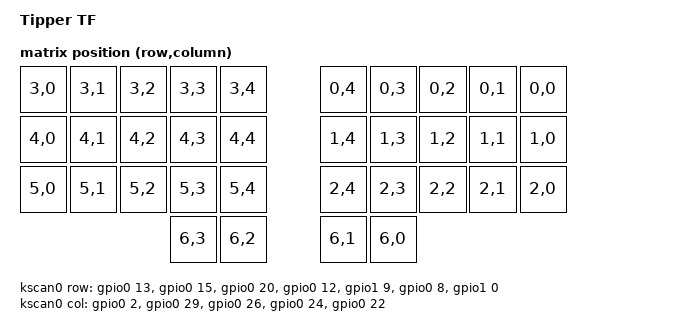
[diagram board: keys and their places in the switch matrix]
/*
 * Copyright (c) 2025
 *
 * SPDX-License-Identifier: MIT
 */

/dts-v1/;
#include <nordic/nrf52840_qiaa.dtsi>
#include <common/nordic/nrf52840_uf2_boot_mode.dtsi>
#include <dt-bindings/zmk/matrix_transform.h>
#include "tipper_tf-layouts.dtsi"

/ {
	model = "Tipper TF";
	compatible = "tipper,tf";

	chosen {
		zephyr,code-partition = &code_partition;
		zephyr,sram = &sram0;
		zephyr,flash = &flash0;
		zmk,kscan = &kscan0;
		zmk,physical-layout = &tipper_tf_physical_layout;
		zmk,studio-rpc-uart = &studio_rpc_usb_uart;
		zephyr,display = &display;
		/* Boot mode is set by nrf52840_uf2_boot_mode.dtsi */
	};

	default_transform: keymap_transform_0 {
		compatible = "zmk,matrix-transform";
		rows = <7>;
		columns = <5>;
		map = <
		RC(3,0) RC(3,1) RC(3,2) RC(3,3) RC(3,4) 		RC(0,4) RC(0,3) RC(0,2) RC(0,1) RC(0,0)
		RC(4,0) RC(4,1) RC(4,2) RC(4,3) RC(4,4) 		RC(1,4) RC(1,3) RC(1,2) RC(1,1) RC(1,0)
		RC(5,0) RC(5,1) RC(5,2) RC(5,3) RC(5,4)	        RC(2,4) RC(2,3) RC(2,2) RC(2,1) RC(2,0)
		                        RC(6,3) RC(6,2) 		RC(6,1) RC(6,0)
		>;
	};

	kscan0: kscan {
		compatible = "zmk,kscan-gpio-matrix";
		label = "KSCAN";
        
		debounce-period = <6>;

		diode-direction = "row2col";
		col-gpios
			= <&gpio0  2 (GPIO_ACTIVE_HIGH | GPIO_PULL_DOWN)>
			, <&gpio0 29 (GPIO_ACTIVE_HIGH | GPIO_PULL_DOWN)>
			, <&gpio0 26 (GPIO_ACTIVE_HIGH | GPIO_PULL_DOWN)>
			, <&gpio0 24 (GPIO_ACTIVE_HIGH | GPIO_PULL_DOWN)>
			, <&gpio0 22 (GPIO_ACTIVE_HIGH | GPIO_PULL_DOWN)>
			;
		row-gpios
			= <&gpio0 13 GPIO_ACTIVE_HIGH>
			, <&gpio0 15 GPIO_ACTIVE_HIGH>
			, <&gpio0 20 GPIO_ACTIVE_HIGH>
			, <&gpio0 12 GPIO_ACTIVE_HIGH>
			, <&gpio1  9 GPIO_ACTIVE_HIGH>
			, <&gpio0  8 GPIO_ACTIVE_HIGH>
			, <&gpio1  0 GPIO_ACTIVE_HIGH>
			;
	};

	vbatt {
		compatible = "zmk,battery-voltage-divider";
		label = "BATTERY";
		io-channels = <&adc 7>;
		output-ohms = <2000000>;
		full-ohms = <(2000000 + 820000)>;
	};
};

&tipper_tf_physical_layout {
	transform = <&default_transform>;
	kscan = <&kscan0>;
};

&reg1 {
	regulator-initial-mode = <NRF5X_REG_MODE_DCDC>;
};

&adc {
	status = "okay";
};

&gpiote {
	status = "okay";
};

&gpio0 {
	status = "okay";
};

&gpio1 {
	status = "okay";
};

zephyr_udc0: &usbd {
	status = "okay";
	studio_rpc_usb_uart: studio_rpc_usb_uart {
		compatible = "zephyr,cdc-acm-uart";
	};
};

&gpregret1 {
	status = "okay";
};

&pinctrl {
	spi0_default: spi0_default {
		group1 {
			psels = <NRF_PSEL(SPIM_SCK, 0, 9)>,
				<NRF_PSEL(SPIM_MOSI, 0, 10)>,
				<NRF_PSEL(SPIM_MISO, 0, 5)>;
		};
	};

	spi0_sleep: spi0_sleep {
		group1 {
			psels = <NRF_PSEL(SPIM_SCK, 0, 9)>,
				<NRF_PSEL(SPIM_MOSI, 0, 10)>,
				<NRF_PSEL(SPIM_MISO, 0, 5)>;
			low-power-enable;
		};
	};
};

/* Display SPI */
&spi0 {
	compatible = "nordic,nrf-spim";
	status = "okay";
	pinctrl-0 = <&spi0_default>;
	pinctrl-1 = <&spi0_sleep>;
	pinctrl-names = "default", "sleep";
	cs-gpios = <&gpio0 4 GPIO_ACTIVE_LOW>;

	display: gdew0154m09@0 {
		compatible = "gooddisplay,gdew0154m09";
		label = "DISPLAY";
		reg = <0>;
		spi-max-frequency = <4000000>;
		width = <200>;
		height = <200>;
		dc-gpios = <&gpio0 6 GPIO_ACTIVE_LOW>;
		reset-gpios = <&gpio1 13 GPIO_ACTIVE_LOW>;
		busy-gpios = <&gpio1 15 (GPIO_ACTIVE_LOW | GPIO_PULL_UP)>;
		status = "okay";
	};
};

&flash0 {
	/*
	 * For more information, see:
	 * http://docs.zephyrproject.org/latest/devices/dts/flash_partitions.html
	 */
	partitions {
		compatible = "fixed-partitions";
		#address-cells = <1>;
		#size-cells = <1>;

		sd_partition: partition@0 {
			label = "mbr";
			reg = <0x00000000 0x00001000>;
		};
		code_partition: partition@1000 {
			label = "code_partition";
			reg = <0x00001000 0x000d3000>;
		};

		storage_partition: partition@d4000 {
			label = "storage";
			reg = <0x000d4000 0x00020000>;
		};

		boot_partition: partition@f4000 {
			label = "adafruit_boot";
			reg = <0x000f4000 0x0000c000>;
		};
	};
};
